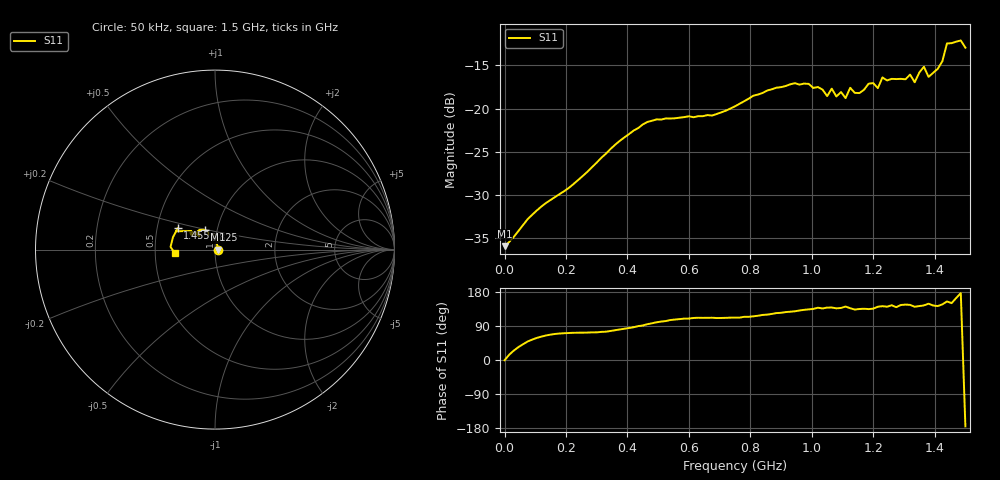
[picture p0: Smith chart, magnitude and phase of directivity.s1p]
! Created with skrf 1.8.0 (http://scikit-rf.org).
# Hz S RI R 50.0
!freq ReS11 ImS11
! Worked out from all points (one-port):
!   101 points, 50 kHz to 1.5 GHz, reference 50 ohm
!   lowest |S11| = -35.9 dB at 50 kHz (marker M1), VSWR 1.03, Z = 51.6 - j0.0183 ohm
!   |S11| at or under -10 dB: start of sweep to end of sweep
!   S11 on the Smith chart (normalised r, x): 50 kHz: 1.03, -0.00; 825 MHz: 0.88, +0.19; 1.455 GHz: 0.64, +0.16; 1.5 GHz: 0.63, -0.02
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50000  0.016 -0.000177
1.050465e8  0.0135 0.0219
1.950435e8  0.0111 0.0315
3.750375e8  0.0107 0.0643
4.650345e8  -0.00667 0.0836
5.70031e8  -0.0273 0.0844
7.50025e8  -0.0383 0.0958
8.250225e8  -0.0545 0.1077
9.450185e8  -0.0876 0.1097
1.020016e9  -0.0991 0.0894
1.050015e9  -0.0883 0.0787
1.065014e9  -0.0978 0.0865
1.080014e9  -0.0851 0.0812
1.110013e9  -0.0896 0.0723
1.125012e9  -0.096 0.0907
1.155012e9  -0.0864 0.0877
1.18501e9  -0.0975 0.0998
1.21501e9  -0.1014 0.0836
1.230009e9  -0.1196 0.0932
1.320006e9  -0.1297 0.0894
1.335006e9  -0.1098 0.0904
1.365004e9  -0.1416 0.1026
1.380004e9  -0.1304 0.0796
1.425002e9  -0.1573 0.1032
1.440002e9  -0.2152 0.1025
1.455002e9  -0.2073 0.1197
1.485e9  -0.2477 0.0151
1.5e9  -0.2246 -0.0186
